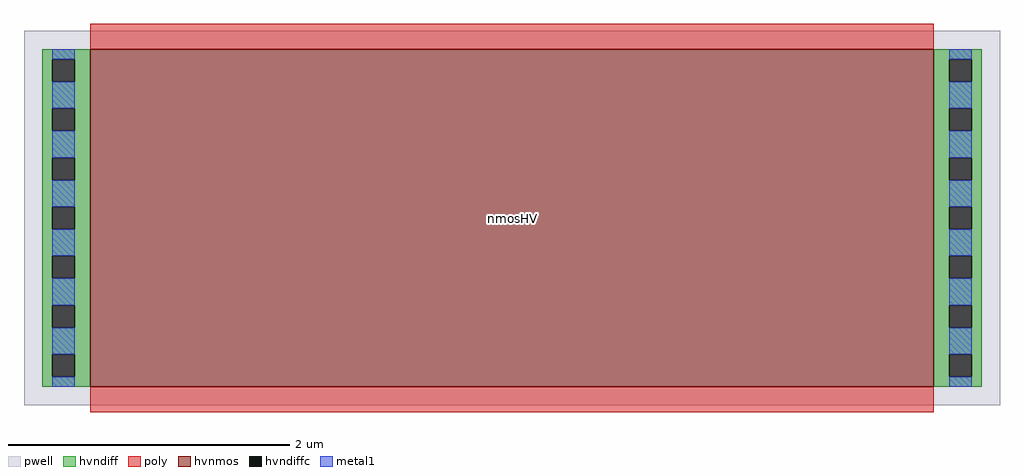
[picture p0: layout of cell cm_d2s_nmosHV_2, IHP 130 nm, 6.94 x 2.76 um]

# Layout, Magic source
magic
tech ihp-sg13cmos5l
<< pwell >>
rect -13 -13 681 253
<< hvnmos >>
rect 34 0 634 240
<< hvndiff >>
rect 0 233 34 240
rect 0 217 7 233
rect 23 217 34 233
rect 0 198 34 217
rect 0 182 7 198
rect 23 182 34 198
rect 0 163 34 182
rect 0 147 7 163
rect 23 147 34 163
rect 0 128 34 147
rect 0 112 7 128
rect 23 112 34 128
rect 0 93 34 112
rect 0 77 7 93
rect 23 77 34 93
rect 0 58 34 77
rect 0 42 7 58
rect 23 42 34 58
rect 0 23 34 42
rect 0 7 7 23
rect 23 7 34 23
rect 0 0 34 7
rect 634 233 668 240
rect 634 217 645 233
rect 661 217 668 233
rect 634 198 668 217
rect 634 182 645 198
rect 661 182 668 198
rect 634 163 668 182
rect 634 147 645 163
rect 661 147 668 163
rect 634 128 668 147
rect 634 112 645 128
rect 661 112 668 128
rect 634 93 668 112
rect 634 77 645 93
rect 661 77 668 93
rect 634 58 668 77
rect 634 42 645 58
rect 661 42 668 58
rect 634 23 668 42
rect 634 7 645 23
rect 661 7 668 23
rect 634 0 668 7
<< hvndiffc >>
rect 7 217 23 233
rect 7 182 23 198
rect 7 147 23 163
rect 7 112 23 128
rect 7 77 23 93
rect 7 42 23 58
rect 7 7 23 23
rect 645 217 661 233
rect 645 182 661 198
rect 645 147 661 163
rect 645 112 661 128
rect 645 77 661 93
rect 645 42 661 58
rect 645 7 661 23
<< poly >>
rect 34 240 634 258
rect 34 -18 634 0
<< metal1 >>
rect 7 233 23 240
rect 7 198 23 217
rect 7 163 23 182
rect 7 128 23 147
rect 7 93 23 112
rect 7 58 23 77
rect 7 23 23 42
rect 7 0 23 7
rect 645 233 661 240
rect 645 198 661 217
rect 645 163 661 182
rect 645 128 661 147
rect 645 93 661 112
rect 645 58 661 77
rect 645 23 661 42
rect 645 0 661 7
<< labels >>
flabel comment s 334 120 334 120 0 FreeSans 100 90 0 0 nmosHV
<< properties >>
string GDS_END 52010
string GDS_FILE custom_io/gds/sg13cmos5l_IOPadDiff2Single.uniq.gds
string GDS_START 50262
<< end >>
